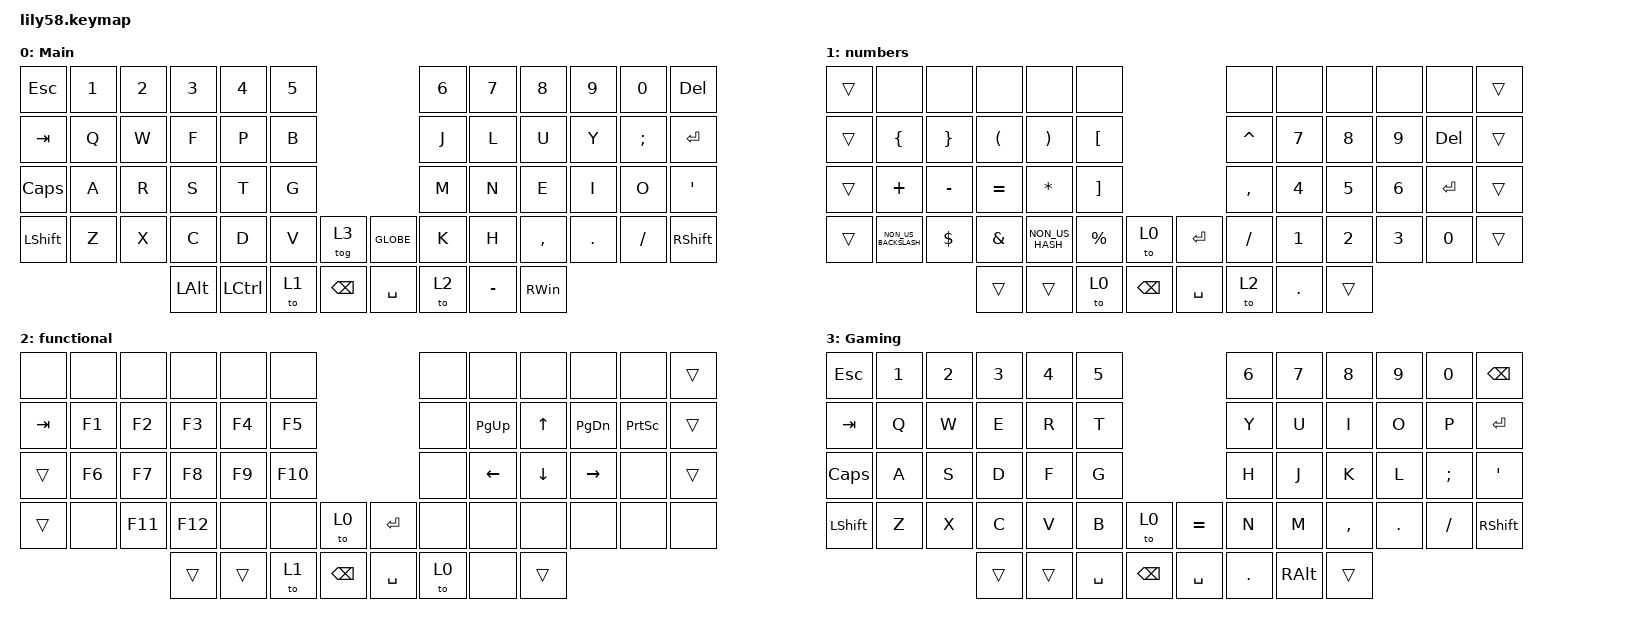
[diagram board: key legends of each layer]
#include <behaviors.dtsi>
#include <dt-bindings/zmk/keys.h>

/ {
    keymap {
        compatible = "zmk,keymap";

        Main {
            bindings = <
&kp ESC    &kp N1  &kp N2  &kp N3        &kp N4            &kp N5                              &kp N6  &kp N7     &kp N8         &kp N9   &kp N0    &kp DELETE
&kp TAB    &kp Q   &kp W   &kp F         &kp P             &kp B                               &kp J   &kp L      &kp U          &kp Y    &kp SEMI  &kp ENTER
&kp CAPS   &kp A   &kp R   &kp S         &kp T             &kp G                               &kp M   &kp N      &kp E          &kp I    &kp O     &kp SQT
&kp LSHFT  &kp Z   &kp X   &kp C         &kp D             &kp V   &tog 3           &kp GLOBE  &kp K   &kp H      &kp COMMA      &kp DOT  &kp FSLH  &kp RIGHT_SHIFT
                           &kp LEFT_ALT  &kp LEFT_CONTROL  &to 1   &kp BACKSPACE    &kp SPACE  &to 2   &kp MINUS  &kp RIGHT_WIN
            >;
        };

        numbers {
            bindings = <
&trans  &none                 &none            &none                 &none                  &none                                          &none      &none         &none         &none         &none       &trans
&trans  &kp LEFT_BRACE        &kp RIGHT_BRACE  &kp LEFT_PARENTHESIS  &kp RIGHT_PARENTHESIS  &kp LEFT_BRACKET                               &kp CARET  &kp N7        &kp N8        &kp N9        &kp DELETE  &trans
&trans  &kp PLUS              &kp MINUS        &kp EQUAL             &kp ASTRK              &kp RIGHT_BRACKET                              &kp COMMA  &kp NUMBER_4  &kp N5        &kp NUMBER_6  &kp ENTER   &trans
&trans  &kp NON_US_BACKSLASH  &kp DOLLAR       &kp AMPERSAND         &kp NON_US_HASH        &kp PERCENT        &to 0            &kp ENTER  &kp SLASH  &kp NUMBER_1  &kp NUMBER_2  &kp NUMBER_3  &kp N0      &trans
                                               &trans                &trans                 &to 0              &kp BACKSPACE    &kp SPACE  &to 2      &kp PERIOD    &trans
            >;
        };

        functional {
            bindings = <
&none    &none   &none    &none    &none   &none                                &none  &none      &none     &none      &none            &trans
&kp TAB  &kp F1  &kp F2   &kp F3   &kp F4  &kp F5                               &none  &kp PG_UP  &kp UP    &kp PG_DN  &kp PRINTSCREEN  &trans
&trans   &kp F6  &kp F7   &kp F8   &kp F9  &kp F10                              &none  &kp LEFT   &kp DOWN  &kp RIGHT  &none            &trans
&trans   &none   &kp F11  &kp F12  &none   &none    &to 0            &kp ENTER  &none  &none      &none     &none      &none            &none
                          &trans   &trans  &to 1    &kp BACKSPACE    &kp SPACE  &to 0  &none      &trans
            >;
        };

        Gaming {
            bindings = <
&kp ESC    &kp N1  &kp N2  &kp N3  &kp N4  &kp N5                                 &kp N6      &kp N7         &kp N8     &kp N9   &kp N0    &kp BSPC
&kp TAB    &kp Q   &kp W   &kp E   &kp R   &kp T                                  &kp Y       &kp U          &kp I      &kp O    &kp P     &kp ENTER
&kp CAPS   &kp A   &kp S   &kp D   &kp F   &kp G                                  &kp H       &kp J          &kp K      &kp L    &kp SEMI  &kp SQT
&kp LSHFT  &kp Z   &kp X   &kp C   &kp V   &kp B      &to 0            &kp EQUAL  &kp N       &kp M          &kp COMMA  &kp DOT  &kp FSLH  &kp RSHFT
                           &trans  &trans  &kp SPACE  &kp BACKSPACE    &kp SPACE  &kp PERIOD  &kp RIGHT_ALT  &trans
            >;
        };
    };
};
